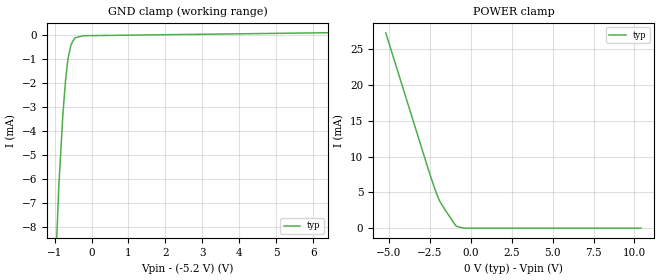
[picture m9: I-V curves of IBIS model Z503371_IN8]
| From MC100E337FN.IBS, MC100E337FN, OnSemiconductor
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| (C) COPYRIGHT 1993-2000
| MENTOR GRAPHICS CORPORATION
| ICX STANDARD LIBRARY, ICX PROJECT MODELING,
| ICX CUSTOM MODELING, ICX VENDOR MODEL
| ALL RIGHTS RESERVED.
| THE FOLLOWING ARE TRADEMARKS OR SERVICE MARKS OF
| MENTOR GRAPHICS CORPORATION:ICX (R), ICX STANDARD
| LIBRARY(R), ICX PROJECT MODELING(R), ICX CUSTOM
| MODELING(R), qualityIBIS(TM), MODELVIEWER(TM),
| AND MODELEDITOR(TM)
| ALL COPIES OF SOFTWARE, INCLUDING BUT NOT LIMITED TO
| ANY MODIFICATIONS, ENHANCEMENTS OR DERIVATIVE WORKS,
| MUST CONTAIN ALL MENTOR GRAPHICS CORPORATION'S
| NOTICES AND LEGENDS, INCLUDING THOSE EMBEDDED IN
| SOFTWARE AND THOSE AFFIXED TO SOFTWARE MEDIUM
| AND CONTAINER, AS RECEIVED FROM MENTOR GRAPHICS
| CORPORATION.
| Model Application Version 1.89 2/18/99.
[Model] Z503371_IN8
Model_type Input_ECL
Vinl = -1.475V
Vinh = -1.165V
C_comp 4.000pF NA NA
| variable typ   min   max
[Voltage Range] -5.200V NA NA
[GND Clamp Reference] -5.200V NA NA
[POWER Clamp Reference] 0.000V NA NA
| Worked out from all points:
|   GND clamp passes 1 mA (typ) near -0.64 V on its own axis
[GND Clamp]
-5.2V     -224.9mA   NA         NA
-1.072V   -13.41mA   NA         NA
-884mV    -6.244mA   NA         NA
-776mV    -3.313mA   NA         NA
-707mV    -1.937mA   NA         NA
-639mV    -993.5uA   NA         NA
-566mV    -460.3uA   NA         NA
-523mV    -290.6uA   NA         NA
-447mV    -103.7uA   NA         NA
-223.5mV  -17.99uA   NA         NA
10.4V     181.6uA    NA         NA
[POWER Clamp]
-5.2V     27.3mA     NA         NA
-2.563V   7.953mA    NA         NA
-2.264V   5.896mA    NA         NA
-2.094V   4.808mA    NA         NA
-1.923V   3.872mA    NA         NA
-1.772V   3.261mA    NA         NA
-1.078V   855.2uA    NA         NA
-883.7mV  257.7uA    NA         NA
-441.9mV  0A         NA         NA
10.4V     0A         NA         NA
